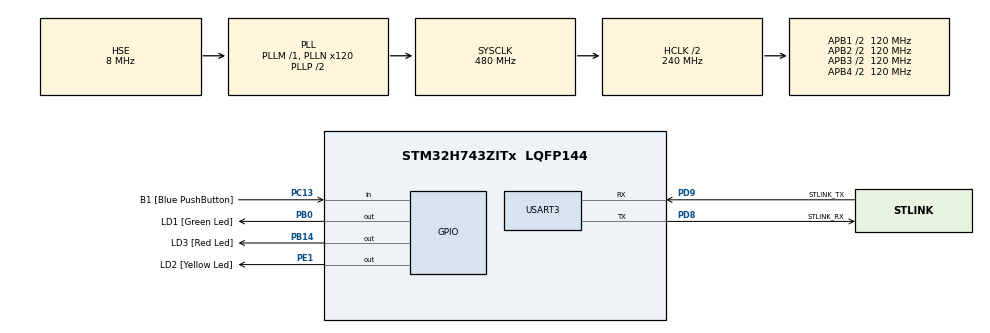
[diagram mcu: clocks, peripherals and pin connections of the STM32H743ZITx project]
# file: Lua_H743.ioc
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Mcu.Family=STM32H7
Mcu.Name=STM32H743ZITx
Mcu.Package=LQFP144
NVIC.PriorityGroup=NVIC_PRIORITYGROUP_4
PA13\ (JTMS/SWDIO).Mode=Serial_Wire
PA13\ (JTMS/SWDIO).Signal=DEBUG_JTMS-SWDIO
PA14\ (JTCK/SWCLK).Mode=Serial_Wire
PA14\ (JTCK/SWCLK).Signal=DEBUG_JTCK-SWCLK
PB0.GPIO_Label=LD1 [Green Led]
PB0.Signal=GPIO_Output
PB14.GPIO_Label=LD3 [Red Led]
PB14.Signal=GPIO_Output
PC13.GPIO_Label=B1 [Blue PushButton]
PC13.Signal=GPIO_Input
PC14-OSC32_IN\ (OSC32_IN).Mode=LSE-External-Oscillator
PC14-OSC32_IN\ (OSC32_IN).Signal=RCC_OSC32_IN
PC15-OSC32_OUT\ (OSC32_OUT).Mode=LSE-External-Oscillator
PC15-OSC32_OUT\ (OSC32_OUT).Signal=RCC_OSC32_OUT
PD8.GPIO_Label=STLINK_RX
PD8.Mode=Asynchronous
PD8.Signal=USART3_TX
PD9.GPIO_Label=STLINK_TX
PD9.Mode=Asynchronous
PD9.Signal=USART3_RX
PE1.GPIO_Label=LD2 [Yellow Led]
PE1.Signal=GPIO_Output
PH0-OSC_IN\ (PH0).Mode=HSE-External-Clock-Source
PH0-OSC_IN\ (PH0).Signal=RCC_OSC_IN
ProjectManager.HeapSize=0x2000
ProjectManager.StackSize=0x8000
ProjectManager.TargetToolchain=STM32CubeIDE
RCC.ADCFreq_Value=16125000
RCC.APB1Freq_Value=120000000
RCC.APB2Freq_Value=120000000
RCC.APB3Freq_Value=120000000
RCC.APB4Freq_Value=120000000
RCC.CortexFreq_Value=480000000
RCC.D1PPRE=RCC_APB3_DIV2
RCC.D2PPRE1=RCC_APB1_DIV2
RCC.D2PPRE2=RCC_APB2_DIV2
RCC.D3PPRE=RCC_APB4_DIV2
RCC.DIVM1=1
RCC.DIVN1=120
RCC.DIVQ1=4
RCC.HCLKFreq_Value=240000000
RCC.HPRE=RCC_HCLK_DIV2
RCC.HSE_VALUE=8000000
RCC.PLLFRACN=0
RCC.PLLSourceVirtual=RCC_PLLSOURCE_HSE
RCC.PWR_Regulator_Voltage_Scale=PWR_REGULATOR_VOLTAGE_SCALE0
RCC.SYSCLKFreq_VALUE=480000000
RCC.SYSCLKSource=RCC_SYSCLKSOURCE_PLLCLK
RCC.USBFreq_Value=240000000
USART3.DMADisableonRxErrorParam=ADVFEATURE_DMA_DISABLEONRXERROR
USART3.OverrunDisableParam=ADVFEATURE_OVERRUN_DISABLE
USART3.VirtualMode-Asynchronous=VM_ASYNC
board=NUCLEO-H743ZI2

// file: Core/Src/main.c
/* USER CODE BEGIN Header */
/**
  ******************************************************************************
  * @file           : main.c
  * @brief          : Main program body
  ******************************************************************************
  * @attention
  *
  * Copyright (c) 2024 STMicroelectronics.
  * All rights reserved.
  *
  * This software is licensed under terms that can be found in the LICENSE file
  * in the root directory of this software component.
  * If no LICENSE file comes with this software, it is provided AS-IS.
  *
  ******************************************************************************
  */
/* USER CODE END Header */
#include "main.h"

/* USER CODE BEGIN Includes */

#include <stdio.h> // 引入该库为了可以使用 printf 函数

#include "src/lua.h"     // Lua数据类型与函数接口
#include "src/lauxlib.h" // Lua与C交互辅助函数接口
#include "src/lualib.h"  // Lua标准库打开接口

/* USER CODE END Includes */

UART_HandleTypeDef huart3;

void SystemClock_Config(void);
static void MX_GPIO_Init(void);
static void MX_USART3_UART_Init(void);

/* USER CODE BEGIN 0 */

/* With GCC, small printf (option LD Linker->Libraries->Small printf set to 'Yes') calls __io_putchar() */
#ifdef __GNUC__
#define PUTCHAR_PROTOTYPE int __io_putchar(int ch) // 实现__io_putchar函数
#else
#define PUTCHAR_PROTOTYPE int fputc(int ch, FILE *f)
#endif /* __GNUC__ */

PUTCHAR_PROTOTYPE
{
	// 实际发送操作，这里可以改成自己真实需要操作的端口
    HAL_UART_Transmit(&huart3, (uint8_t *)&ch, 1, 0xFFFF);
    return ch;
}

/* USER CODE END 0 */

int main(void)
{

  /* MCU Configuration--------------------------------------------------------*/

  /* Reset of all peripherals, Initializes the Flash interface and the Systick. */
  HAL_Init();

  /* Configure the system clock */
  SystemClock_Config();

  /* Initialize all configured peripherals */
  MX_GPIO_Init();
  MX_USART3_UART_Init();

  /* Infinite loop */
  /* USER CODE BEGIN WHILE */

  lua_State* L = luaL_newstate(); // 创建Lua线程
  luaL_openlibs(L); // 打开标准库

  while (1)
  {
	 HAL_Delay(1000);

	luaL_dostring(L, "print('Naisu, Lua!')"); // 解析并执行Lua脚本字符串

    /* USER CODE END WHILE */

    /* USER CODE BEGIN 3 */
  }

  lua_close(L); // 关闭Lua线程

  /* USER CODE END 3 */
}

void SystemClock_Config(void)
{
  RCC_OscInitTypeDef RCC_OscInitStruct = {0};
  RCC_ClkInitTypeDef RCC_ClkInitStruct = {0};

  /** Supply configuration update enable
  */
  HAL_PWREx_ConfigSupply(PWR_LDO_SUPPLY);

  /** Configure the main internal regulator output voltage
  */
  __HAL_PWR_VOLTAGESCALING_CONFIG(PWR_REGULATOR_VOLTAGE_SCALE1);

  while(!__HAL_PWR_GET_FLAG(PWR_FLAG_VOSRDY)) {}

  __HAL_RCC_SYSCFG_CLK_ENABLE();
  __HAL_PWR_VOLTAGESCALING_CONFIG(PWR_REGULATOR_VOLTAGE_SCALE0);

  while(!__HAL_PWR_GET_FLAG(PWR_FLAG_VOSRDY)) {}

  /** Initializes the RCC Oscillators according to the specified parameters
  * in the RCC_OscInitTypeDef structure.
  */
  RCC_OscInitStruct.OscillatorType = RCC_OSCILLATORTYPE_HSE;
  RCC_OscInitStruct.HSEState = RCC_HSE_BYPASS;
  RCC_OscInitStruct.PLL.PLLState = RCC_PLL_ON;
  RCC_OscInitStruct.PLL.PLLSource = RCC_PLLSOURCE_HSE;
  RCC_OscInitStruct.PLL.PLLM = 1;
  RCC_OscInitStruct.PLL.PLLN = 120;
  RCC_OscInitStruct.PLL.PLLP = 2;
  RCC_OscInitStruct.PLL.PLLQ = 4;
  RCC_OscInitStruct.PLL.PLLR = 2;
  RCC_OscInitStruct.PLL.PLLRGE = RCC_PLL1VCIRANGE_3;
  RCC_OscInitStruct.PLL.PLLVCOSEL = RCC_PLL1VCOWIDE;
  RCC_OscInitStruct.PLL.PLLFRACN = 0;
  if (HAL_RCC_OscConfig(&RCC_OscInitStruct) != HAL_OK)
  {
    Error_Handler();
  }

  /** Initializes the CPU, AHB and APB buses clocks
  */
  RCC_ClkInitStruct.ClockType = RCC_CLOCKTYPE_HCLK|RCC_CLOCKTYPE_SYSCLK
                              |RCC_CLOCKTYPE_PCLK1|RCC_CLOCKTYPE_PCLK2
                              |RCC_CLOCKTYPE_D3PCLK1|RCC_CLOCKTYPE_D1PCLK1;
  RCC_ClkInitStruct.SYSCLKSource = RCC_SYSCLKSOURCE_PLLCLK;
  RCC_ClkInitStruct.SYSCLKDivider = RCC_SYSCLK_DIV1;
  RCC_ClkInitStruct.AHBCLKDivider = RCC_HCLK_DIV2;
  RCC_ClkInitStruct.APB3CLKDivider = RCC_APB3_DIV2;
  RCC_ClkInitStruct.APB1CLKDivider = RCC_APB1_DIV2;
  RCC_ClkInitStruct.APB2CLKDivider = RCC_APB2_DIV2;
  RCC_ClkInitStruct.APB4CLKDivider = RCC_APB4_DIV2;

  if (HAL_RCC_ClockConfig(&RCC_ClkInitStruct, FLASH_LATENCY_4) != HAL_OK)
  {
    Error_Handler();
  }
}

static void MX_USART3_UART_Init(void)
{

  huart3.Instance = USART3;
  huart3.Init.BaudRate = 115200;
  huart3.Init.WordLength = UART_WORDLENGTH_8B;
  huart3.Init.StopBits = UART_STOPBITS_1;
  huart3.Init.Parity = UART_PARITY_NONE;
  huart3.Init.Mode = UART_MODE_TX_RX;
  huart3.Init.HwFlowCtl = UART_HWCONTROL_NONE;
  huart3.Init.OverSampling = UART_OVERSAMPLING_16;
  huart3.Init.OneBitSampling = UART_ONE_BIT_SAMPLE_DISABLE;
  huart3.Init.ClockPrescaler = UART_PRESCALER_DIV1;
  huart3.AdvancedInit.AdvFeatureInit = UART_ADVFEATURE_RXOVERRUNDISABLE_INIT|UART_ADVFEATURE_DMADISABLEONERROR_INIT;
  huart3.AdvancedInit.OverrunDisable = UART_ADVFEATURE_OVERRUN_DISABLE;
  huart3.AdvancedInit.DMADisableonRxError = UART_ADVFEATURE_DMA_DISABLEONRXERROR;
  if (HAL_UART_Init(&huart3) != HAL_OK)
  {
    Error_Handler();
  }
  if (HAL_UARTEx_SetTxFifoThreshold(&huart3, UART_TXFIFO_THRESHOLD_1_8) != HAL_OK)
  {
    Error_Handler();
  }
  if (HAL_UARTEx_SetRxFifoThreshold(&huart3, UART_RXFIFO_THRESHOLD_1_8) != HAL_OK)
  {
    Error_Handler();
  }
  if (HAL_UARTEx_DisableFifoMode(&huart3) != HAL_OK)
  {
    Error_Handler();
  }

}

static void MX_GPIO_Init(void)
{
  GPIO_InitTypeDef GPIO_InitStruct = {0};

  /* GPIO Ports Clock Enable */
  __HAL_RCC_GPIOC_CLK_ENABLE();
  __HAL_RCC_GPIOH_CLK_ENABLE();
  __HAL_RCC_GPIOB_CLK_ENABLE();
  __HAL_RCC_GPIOD_CLK_ENABLE();
  __HAL_RCC_GPIOA_CLK_ENABLE();
  __HAL_RCC_GPIOE_CLK_ENABLE();

  /*Configure GPIO pin Output Level */
  HAL_GPIO_WritePin(GPIOB, LD1_Pin|LD3_Pin, GPIO_PIN_RESET);

  /*Configure GPIO pin Output Level */
  HAL_GPIO_WritePin(LD2_GPIO_Port, LD2_Pin, GPIO_PIN_RESET);

  /*Configure GPIO pin : B1_Pin */
  GPIO_InitStruct.Pin = B1_Pin;
  GPIO_InitStruct.Mode = GPIO_MODE_INPUT;
  GPIO_InitStruct.Pull = GPIO_NOPULL;
  HAL_GPIO_Init(B1_GPIO_Port, &GPIO_InitStruct);

  /*Configure GPIO pins : LD1_Pin LD3_Pin */
  GPIO_InitStruct.Pin = LD1_Pin|LD3_Pin;
  GPIO_InitStruct.Mode = GPIO_MODE_OUTPUT_PP;
  GPIO_InitStruct.Pull = GPIO_NOPULL;
  GPIO_InitStruct.Speed = GPIO_SPEED_FREQ_LOW;
  HAL_GPIO_Init(GPIOB, &GPIO_InitStruct);

  /*Configure GPIO pin : LD2_Pin */
  GPIO_InitStruct.Pin = LD2_Pin;
  GPIO_InitStruct.Mode = GPIO_MODE_OUTPUT_PP;
  GPIO_InitStruct.Pull = GPIO_NOPULL;
  GPIO_InitStruct.Speed = GPIO_SPEED_FREQ_LOW;
  HAL_GPIO_Init(LD2_GPIO_Port, &GPIO_InitStruct);

}

void Error_Handler(void)
{
  __disable_irq();
  while (1)
  {
  }
}
